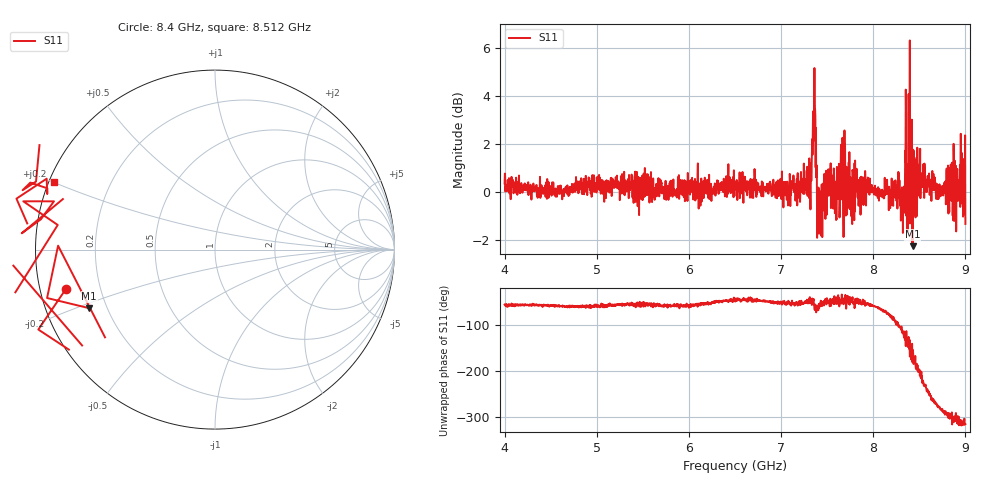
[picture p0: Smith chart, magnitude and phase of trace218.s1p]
! Created with skrf 1.8.0 (http://scikit-rf.org).
# Hz S RI R 50.0
!freq ReS11 ImS11
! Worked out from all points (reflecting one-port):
!   1601 points, 4 GHz to 9 GHz, reference 50 ohm
!   lowest |S11| = -2.2 dB at 8.431 GHz (marker M1), VSWR 7.80, Z = 6.72 - j10.9 ohm
!   phase of S11 starts at -56 deg and turns -260 deg over the sweep
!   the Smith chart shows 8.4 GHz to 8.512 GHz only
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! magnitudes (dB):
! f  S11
! 4 GHz  0.4
! 4.625 GHz  -0.3
! 5.25 GHz  -0.3
! 5.875 GHz  0.0
! 6.5 GHz  0.4
! 7.125 GHz  0.4
! 7.297 GHz  0.6
! 7.359 GHz  2.8
! 7.4 GHz  -0.9
! 7.416 GHz  -1.0
! 7.525 GHz  0.7
! 7.609 GHz  0.0
! 7.669 GHz  1.9
! 7.75 GHz  -0.7
! 7.822 GHz  0.3
! 8.097 GHz  0.1
! 8.253 GHz  -0.4
! 8.316 GHz  0.1
! 8.331 GHz  -0.4
! 8.347 GHz  1.7
! 8.375 GHz  0.0
! 8.431 GHz  -2.2
! 8.447 GHz  1.4
! 8.459 GHz  -1.0
! 8.522 GHz  0.7
! 8.722 GHz  0.1
! 8.972 GHz  0.4
! 9 GHz  -1.3
